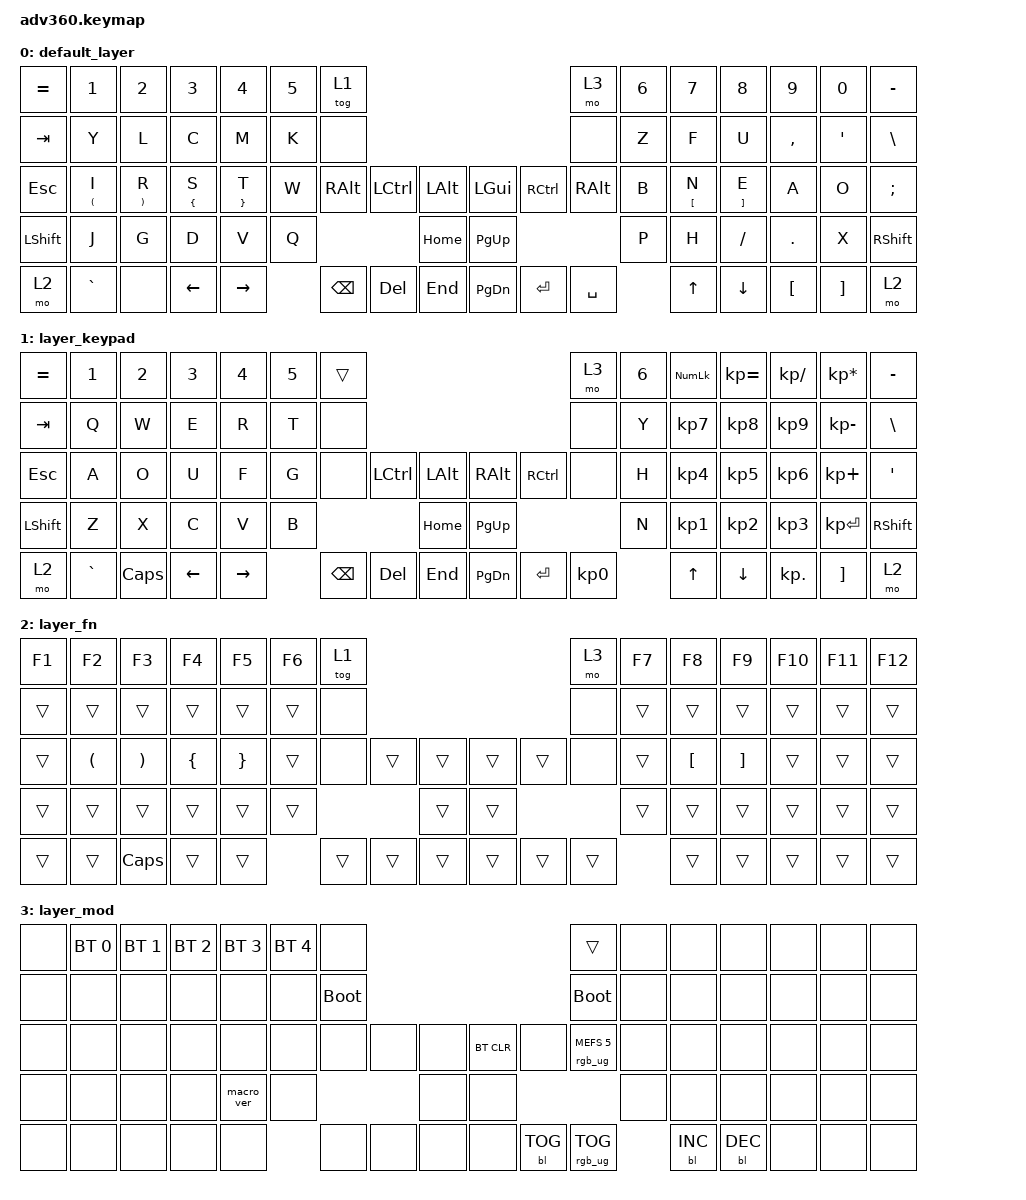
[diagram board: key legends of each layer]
/*
 * Copyright (c) 2020 The ZMK Contributors
 *
 * SPDX-License-Identifier: MIT
 */
/* THIS FILE WAS GENERATED!
 *
 * This file was generated automatically. You may or may not want to
 * edit it directly.
 */

#include <behaviors.dtsi>
#include <dt-bindings/zmk/backlight.h>
#include <dt-bindings/zmk/bt.h>
#include <dt-bindings/zmk/keys.h>
#include <dt-bindings/zmk/rgb.h>

/ {
    behaviors {
        #include "macros.dtsi"
    #include "version.dtsi"

        hm: homerow_mods {
            compatible = "zmk,behavior-hold-tap";
            label = "HOMEROW_MODS";
            #binding-cells = <2>;
            tapping-term-ms = <400>;
            quick_tap_ms = <175>;
            flavor = "tap-preferred";
            bindings = <&kp>, <&kp>;
        };
    };

    keymap {
        compatible = "zmk,keymap";

        default_layer {
            bindings = <
&kp EQUAL  &kp N1                  &kp N2                   &kp N3            &kp N4             &kp N5  &tog 1                                                        &mo 3          &kp N6  &kp N7              &kp N8               &kp N9     &kp N0    &kp MINUS
&kp TAB    &kp Y                   &kp L                    &kp C             &kp M              &kp K   &none                                                         &none          &kp Z   &kp F               &kp U                &kp COMMA  &kp APOS  &kp BSLH
&kp ESC    &hm LEFT_PARENTHESIS I  &hm RIGHT_PARENTHESIS R  &hm LEFT_BRACE S  &hm RIGHT_BRACE T  &kp W   &kp RIGHT_ALT  &kp LCTRL  &kp LALT      &kp LGUI   &kp RCTRL  &kp RIGHT_ALT  &kp B   &hm LEFT_BRACKET N  &hm RIGHT_BRACKET E  &kp A      &kp O     &kp SEMI
&kp LSHFT  &kp J                   &kp G                    &kp D             &kp V              &kp Q                             &kp HOME      &kp PG_UP                            &kp P   &kp H               &kp FSLH             &kp DOT    &kp X     &kp RSHFT
&mo 2      &kp GRAVE               &none                    &kp LEFT          &kp RIGHT                  &kp BSPC       &kp DEL    &kp END       &kp PG_DN  &kp ENTER  &kp SPACE              &kp UP              &kp DOWN             &kp LBKT   &kp RBKT  &mo 2
            >;
        };

        layer_keypad {
            bindings = <
&kp EQUAL  &kp N1     &kp N2    &kp N3    &kp N4     &kp N5  &trans                                                       &mo 3      &kp N6  &kp KP_NUM  &kp KP_EQUAL  &kp KP_DIVIDE  &kp KP_MULTIPLY  &kp MINUS
&kp TAB    &kp Q      &kp W     &kp E     &kp R      &kp T   &none                                                        &none      &kp Y   &kp KP_N7   &kp KP_N8     &kp KP_N9      &kp KP_MINUS     &kp BSLH
&kp ESC    &kp A      &kp O     &kp U     &kp F      &kp G   &none     &kp LCTRL  &kp LALT      &kp RIGHT_ALT  &kp RCTRL  &none      &kp H   &kp KP_N4   &kp KP_N5     &kp KP_N6      &kp KP_PLUS      &kp SQT
&kp LSHFT  &kp Z      &kp X     &kp C     &kp V      &kp B                        &kp HOME      &kp PG_UP                            &kp N   &kp KP_N1   &kp KP_N2     &kp KP_N3      &kp KP_ENTER     &kp RSHFT
&mo 2      &kp GRAVE  &kp CAPS  &kp LEFT  &kp RIGHT          &kp BSPC  &kp DEL    &kp END       &kp PG_DN      &kp ENTER  &kp KP_N0          &kp UP      &kp DOWN      &kp KP_DOT     &kp RBKT         &mo 2
            >;
        };

        layer_fn {
            bindings = <
&kp F1  &kp F2                &kp F3                 &kp F4          &kp F5           &kp F6  &tog 1                                      &mo 3   &kp F7  &kp F8            &kp F9             &kp F10  &kp F11  &kp F12
&trans  &trans                &trans                 &trans          &trans           &trans  &none                                       &none   &trans  &trans            &trans             &trans   &trans   &trans
&trans  &kp LEFT_PARENTHESIS  &kp RIGHT_PARENTHESIS  &kp LEFT_BRACE  &kp RIGHT_BRACE  &trans  &none   &trans  &trans      &trans  &trans  &none   &trans  &kp LEFT_BRACKET  &kp RIGHT_BRACKET  &trans   &trans   &trans
&trans  &trans                &trans                 &trans          &trans           &trans                  &trans      &trans                  &trans  &trans            &trans             &trans   &trans   &trans
&trans  &trans                &kp CAPS               &trans          &trans                   &trans  &trans  &trans      &trans  &trans  &trans          &trans            &trans             &trans   &trans   &trans
            >;
        };

        layer_mod {
            bindings = <
&none  &bt BT_SEL 0  &bt BT_SEL 1  &bt BT_SEL 2  &bt BT_SEL 3  &bt BT_SEL 4  &none                                                  &trans                  &none  &none       &none       &none  &none  &none
&none  &none         &none         &none         &none         &none         &bootloader                                            &bootloader             &none  &none       &none       &none  &none  &none
&none  &none         &none         &none         &none         &none         &none        &none  &none      &bt BT_CLR  &none       &rgb_ug RGB_MEFS_CMD 5  &none  &none       &none       &none  &none  &none
&none  &none         &none         &none         &macro_ver    &none                             &none      &none                                           &none  &none       &none       &none  &none  &none
&none  &none         &none         &none         &none                       &none        &none  &none      &none       &bl BL_TOG  &rgb_ug RGB_TOG                &bl BL_INC  &bl BL_DEC  &none  &none  &none
            >;
        };
    };
};
